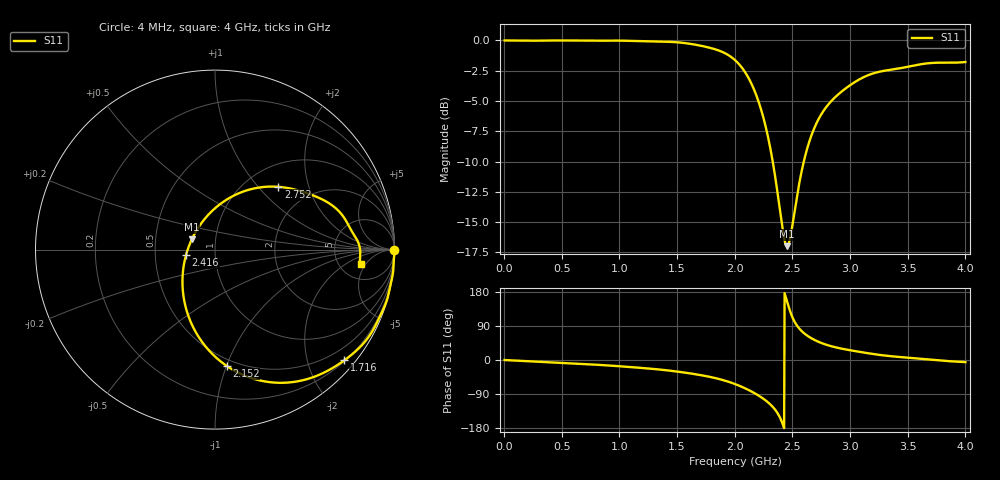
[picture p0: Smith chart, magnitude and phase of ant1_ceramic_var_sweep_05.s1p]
! TOUCHSTONE file generated by CST MICROWAVE STUDIO
! Date and time: Fri May  6 09:22:49 2022
! Project name: ant1_ceramic_sweep_10porcent.cst
! Parameters = {e=0.035; h=1.6; i=0.88; l1=0.5; l2=17; ls=80; wl=1.7; ws=30}
! Header version: 2018
! Port assignment regex: !\s*Touchstone port\s*([0-9]+)\s*=\s*(CST MWS port|CST DS port)\s*([0-9]+|Zmin|Zmax)\s*\(\"(.*)\"\)(\s*mode\s*([0-9]+))?.*
! Touchstone port assignment:
! Touchstone port 1 = CST MWS port 1 ("")
# GHz S DB R 50
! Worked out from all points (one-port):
!   1000 points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, 4 MHz to 4 GHz, reference 50 ohm
!   lowest |S11| = -17.0 dB at 2.452 GHz (marker M1), VSWR 1.33, Z = 38.3 + j4.48 ohm
!   |S11| at or under -10 dB: 2.329 GHz to 2.599 GHz (269.6 MHz wide, 10.9 % of centre)
!   S11 on the Smith chart (normalised r, x): 4 MHz: open; 1.716 GHz: 0.22, -2.69; 2.152 GHz: 0.45, -1.00; 2.416 GHz: 0.72, -0.05; 2.752 GHz: 1.39, +1.29; 4 GHz: 7.99, -3.77
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0.004  -0.00 -0.1
0.504  -0.00 -7.5
1.004  -0.01 -16.6
1.328  -0.09 -24.6
1.504  -0.15 -30.7
1.716  -0.46 -40.5
1.872  -0.87 -50.8
2.004  -1.64 -63.7
2.08  -2.48 -73.4
2.152  -3.72 -84.3
2.22  -5.45 -96.5
2.292  -8.14 -112.7
2.352  -11.36 -132.0
2.416  -15.68 -169.2
2.436  -16.68 172.5
2.452  -16.99 156.1
2.476  -16.51 132.2
2.504  -15.01 110.0
2.564  -11.56 81.4
2.616  -9.34 67.0
2.68  -7.46 54.7
2.752  -6.08 44.8
2.86  -4.79 34.5
3.004  -3.67 25.5
3.216  -2.68 15.1
3.504  -2.17 6.1
3.7  -1.86 0.7
4  -1.78 -5.6
